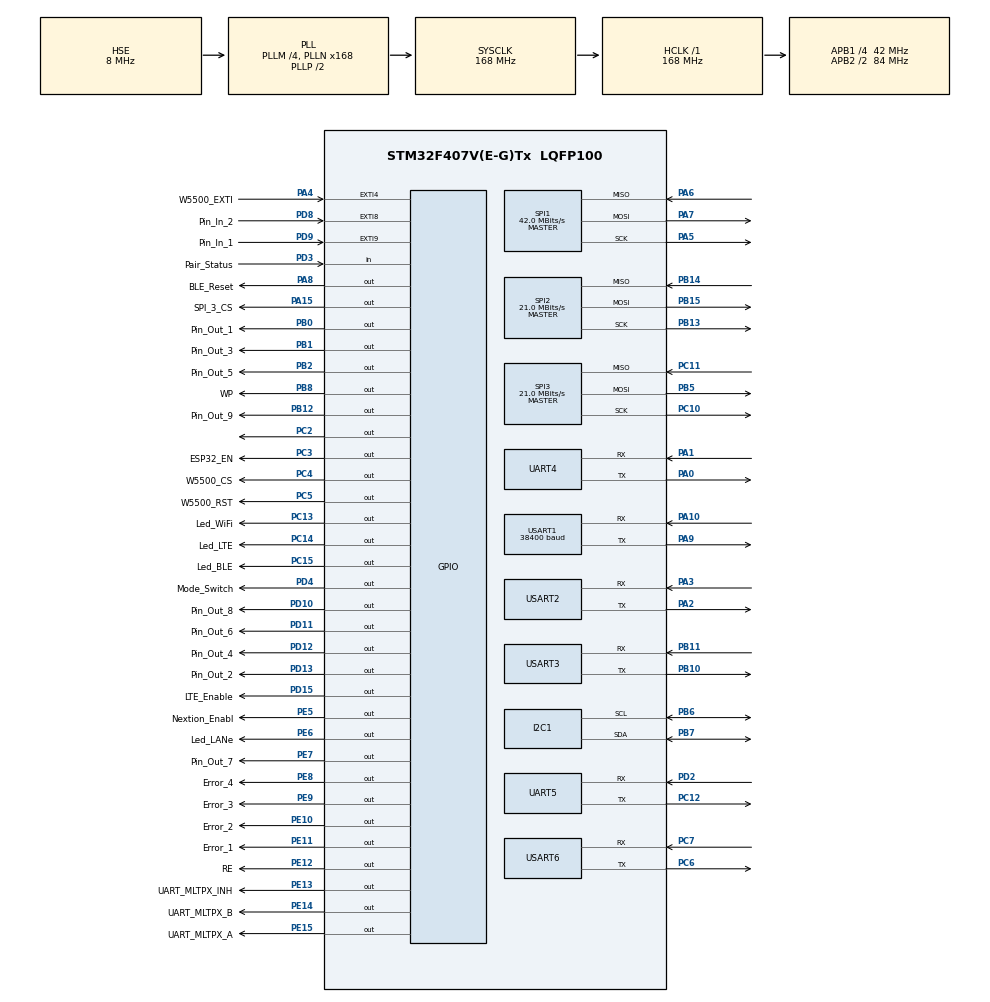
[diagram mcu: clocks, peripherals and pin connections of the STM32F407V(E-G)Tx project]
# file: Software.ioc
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Mcu.Family=STM32F4
Mcu.Name=STM32F407V(E-G)Tx
Mcu.Package=LQFP100
NVIC.PriorityGroup=NVIC_PRIORITYGROUP_4
NVIC.UART4_IRQn=true\:0\:0\:false\:false\:true\:true\:true
NVIC.USART1_IRQn=true\:0\:0\:false\:false\:true\:true\:true
NVIC.USART2_IRQn=true\:0\:0\:false\:false\:true\:true\:true
NVIC.USART3_IRQn=true\:0\:0\:false\:false\:true\:true\:true
NVIC.USART6_IRQn=true\:0\:0\:false\:false\:true\:true\:true
PA0-WKUP.Mode=Asynchronous
PA0-WKUP.Signal=UART4_TX
PA1.Mode=Asynchronous
PA1.Signal=UART4_RX
PA10.Mode=Asynchronous
PA10.Signal=USART1_RX
PA13.Mode=Serial_Wire
PA13.Signal=SYS_JTMS-SWDIO
PA14.Mode=Serial_Wire
PA14.Signal=SYS_JTCK-SWCLK
PA15.GPIO_Label=SPI_3_CS
PA15.Signal=GPIO_Output
PA2.Mode=Asynchronous
PA2.Signal=USART2_TX
PA3.Mode=Asynchronous
PA3.Signal=USART2_RX
PA4.GPIO_Label=W5500_EXTI
PA4.Signal=GPXTI4
PA5.Mode=Full_Duplex_Master
PA5.Signal=SPI1_SCK
PA6.Mode=Full_Duplex_Master
PA6.Signal=SPI1_MISO
PA7.Mode=Full_Duplex_Master
PA7.Signal=SPI1_MOSI
PA8.GPIO_Label=BLE_Reset
PA8.Signal=GPIO_Output
PA9.Mode=Asynchronous
PA9.Signal=USART1_TX
PB0.GPIO_Label=Pin_Out_1
PB0.Signal=GPIO_Output
PB1.GPIO_Label=Pin_Out_3
PB1.Signal=GPIO_Output
PB10.Mode=Asynchronous
PB10.Signal=USART3_TX
PB11.Mode=Asynchronous
PB11.Signal=USART3_RX
PB12.GPIO_Label=Pin_Out_9
PB12.Signal=GPIO_Output
PB13.Mode=Full_Duplex_Master
PB13.Signal=SPI2_SCK
PB14.Mode=Full_Duplex_Master
PB14.Signal=SPI2_MISO
PB15.Mode=Full_Duplex_Master
PB15.Signal=SPI2_MOSI
PB2.GPIO_Label=Pin_Out_5
PB2.Signal=GPIO_Output
PB5.Mode=Full_Duplex_Master
PB5.Signal=SPI3_MOSI
PB6.Mode=I2C
PB6.Signal=I2C1_SCL
PB7.Mode=I2C
PB7.Signal=I2C1_SDA
PB8.GPIO_Label=WP
PB8.Signal=GPIO_Output
PC10.Mode=Full_Duplex_Master
PC10.Signal=SPI3_SCK
PC11.Mode=Full_Duplex_Master
PC11.Signal=SPI3_MISO
PC12.Mode=Asynchronous
PC12.Signal=UART5_TX
PC13-ANTI_TAMP.GPIO_Label=Led_WiFi
PC13-ANTI_TAMP.Signal=GPIO_Output
PC14-OSC32_IN.GPIO_Label=Led_LTE
PC14-OSC32_IN.Signal=GPIO_Output
PC15-OSC32_OUT.GPIO_Label=Led_BLE
PC15-OSC32_OUT.Signal=GPIO_Output
PC2.Signal=GPIO_Output
PC3.GPIO_Label=ESP32_EN
PC3.Signal=GPIO_Output
PC4.GPIO_Label=W5500_CS
PC4.Signal=GPIO_Output
PC5.GPIO_Label=W5500_RST
PC5.Signal=GPIO_Output
PC6.Mode=Asynchronous
PC6.Signal=USART6_TX
PC7.Mode=Asynchronous
PC7.Signal=USART6_RX
PD10.GPIO_Label=Pin_Out_8
PD10.Signal=GPIO_Output
PD11.GPIO_Label=Pin_Out_6
PD11.Signal=GPIO_Output
PD12.GPIO_Label=Pin_Out_4
PD12.Signal=GPIO_Output
PD13.GPIO_Label=Pin_Out_2
PD13.Signal=GPIO_Output
PD15.GPIO_Label=LTE_Enable
PD15.Signal=GPIO_Output
PD2.Mode=Asynchronous
PD2.Signal=UART5_RX
PD3.GPIO_Label=Pair_Status
PD3.Signal=GPIO_Input
PD4.GPIO_Label=Mode_Switch
PD4.Signal=GPIO_Output
PD8.GPIO_Label=Pin_In_2
PD8.Signal=GPXTI8
PD9.GPIO_Label=Pin_In_1
PD9.Signal=GPXTI9
PE10.GPIO_Label=Error_2
PE10.Signal=GPIO_Output
PE11.GPIO_Label=Error_1
PE11.Signal=GPIO_Output
PE12.GPIO_Label=RE
PE12.Signal=GPIO_Output
PE13.GPIO_Label=UART_MLTPX_INH
PE13.Signal=GPIO_Output
PE14.GPIO_Label=UART_MLTPX_B
PE14.Signal=GPIO_Output
PE15.GPIO_Label=UART_MLTPX_A
PE15.Signal=GPIO_Output
PE5.GPIO_Label=Nextion_Enabl
PE5.Signal=GPIO_Output
PE6.GPIO_Label=Led_LANe
PE6.Signal=GPIO_Output
PE7.GPIO_Label=Pin_Out_7
PE7.Signal=GPIO_Output
PE8.GPIO_Label=Error_4
PE8.Signal=GPIO_Output
PE9.GPIO_Label=Error_3
PE9.Signal=GPIO_Output
PH0-OSC_IN.Mode=HSE-External-Oscillator
PH0-OSC_IN.Signal=RCC_OSC_IN
PH1-OSC_OUT.Mode=HSE-External-Oscillator
PH1-OSC_OUT.Signal=RCC_OSC_OUT
ProjectManager.HeapSize=0x200
ProjectManager.StackSize=0x400
ProjectManager.TargetToolchain=MDK-ARM V5.27
RCC.48MHZClocksFreq_Value=48000000
RCC.AHBFreq_Value=168000000
RCC.APB1CLKDivider=RCC_HCLK_DIV4
RCC.APB1Freq_Value=42000000
RCC.APB1TimFreq_Value=84000000
RCC.APB2CLKDivider=RCC_HCLK_DIV2
RCC.APB2Freq_Value=84000000
RCC.APB2TimFreq_Value=168000000
RCC.CortexFreq_Value=168000000
RCC.HCLKFreq_Value=168000000
RCC.HSE_VALUE=8000000
RCC.HSI_VALUE=16000000
RCC.LSE_VALUE=32768
RCC.PLLM=4
RCC.PLLN=168
RCC.PLLQ=7
RCC.PLLSourceVirtual=RCC_PLLSOURCE_HSE
RCC.SYSCLKFreq_VALUE=168000000
RCC.SYSCLKSource=RCC_SYSCLKSOURCE_PLLCLK
RCC.VCOOutputFreq_Value=336000000
SPI1.BaudRatePrescaler=SPI_BAUDRATEPRESCALER_2
SPI1.CalculateBaudRate=42.0 MBits/s
SPI1.Direction=SPI_DIRECTION_2LINES
SPI1.Mode=SPI_MODE_MASTER
SPI1.VirtualType=VM_MASTER
SPI2.BaudRatePrescaler=SPI_BAUDRATEPRESCALER_2
SPI2.CalculateBaudRate=21.0 MBits/s
SPI2.Direction=SPI_DIRECTION_2LINES
SPI2.Mode=SPI_MODE_MASTER
SPI2.VirtualType=VM_MASTER
SPI3.BaudRatePrescaler=SPI_BAUDRATEPRESCALER_2
SPI3.CalculateBaudRate=21.0 MBits/s
SPI3.Direction=SPI_DIRECTION_2LINES
SPI3.Mode=SPI_MODE_MASTER
SPI3.VirtualType=VM_MASTER
UART4.VirtualMode=Asynchronous
UART5.VirtualMode=Asynchronous
USART1.BaudRate=38400
USART1.VirtualMode=VM_ASYNC
USART2.VirtualMode=VM_ASYNC
USART3.VirtualMode=VM_ASYNC
USART6.VirtualMode=VM_ASYNC
board=custom

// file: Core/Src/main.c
/* USER CODE BEGIN Header */
/**
  ******************************************************************************
  * @file           : main.c
  * @brief          : Main program body
  ******************************************************************************
  * @attention
  *
  * <h2><center>&copy; Copyright (c) 2022 STMicroelectronics.
  * All rights reserved.</center></h2>
  *
  * This software component is licensed by ST under BSD 3-Clause license,
  * the "License"; You may not use this file except in compliance with the
  * License. You may obtain a copy of the License at:
  *                        opensource.org/licenses/BSD-3-Clause
  *
  ******************************************************************************
  */
/* USER CODE END Header */
#include "main.h"

/* USER CODE BEGIN PD */

#define INH_LOW HAL_GPIO_WritePin(GPIOE, GPIO_PIN_13, GPIO_PIN_RESET)
#define INH_HIGH HAL_GPIO_WritePin(GPIOE, GPIO_PIN_13, GPIO_PIN_SET)

#define MULTIPLEXER_A_LOW HAL_GPIO_WritePin(GPIOE, GPIO_PIN_15, GPIO_PIN_RESET)
#define MULTIPLEXER_A_HIGH HAL_GPIO_WritePin(GPIOE, GPIO_PIN_15, GPIO_PIN_SET)

#define MULTIPLEXER_B_LOW HAL_GPIO_WritePin(GPIOE, GPIO_PIN_14, GPIO_PIN_RESET)
#define MULTIPLEXER_B_HIGH HAL_GPIO_WritePin(GPIOE, GPIO_PIN_14, GPIO_PIN_SET)

#define RE_LOW    HAL_GPIO_WritePin(GPIOE, GPIO_PIN_12, GPIO_PIN_RESET)
#define RE_HIGH 	HAL_GPIO_WritePin(GPIOE, GPIO_PIN_12, GPIO_PIN_SET)

#define BLE_Mode_Data				HAL_GPIO_WritePin(GPIOD,GPIO_PIN_4, GPIO_PIN_RESET)
#define BLE_Mode_AT					HAL_GPIO_WritePin(GPIOD,GPIO_PIN_4, GPIO_PIN_SET)

#define BLE_RESET_ON		HAL_GPIO_WritePin(GPIOA,GPIO_PIN_8, GPIO_PIN_RESET)
#define BLE_RESET_OFF		HAL_GPIO_WritePin(GPIOA,GPIO_PIN_8, GPIO_PIN_SET)

#define ESP32_ON		HAL_GPIO_WritePin(GPIOC,GPIO_PIN_3, GPIO_PIN_SET)
#define ESP32_OFF	  HAL_GPIO_WritePin(GPIOC,GPIO_PIN_3, GPIO_PIN_RESET)

#define LTE_Enable  HAL_GPIO_WritePin(GPIOD,GPIO_PIN_15, GPIO_PIN_SET)
#define LTE_Disable HAL_GPIO_WritePin(GPIOD,GPIO_PIN_15, GPIO_PIN_RESET)

#define W5500_ON	  HAL_GPIO_WritePin(GPIOC,GPIO_PIN_5, GPIO_PIN_SET)
#define W5500_OFF		HAL_GPIO_WritePin(GPIOC,GPIO_PIN_5, GPIO_PIN_RESET)

/* USER CODE END PD */

I2C_HandleTypeDef hi2c1;

SPI_HandleTypeDef hspi1;
SPI_HandleTypeDef hspi2;
SPI_HandleTypeDef hspi3;

UART_HandleTypeDef huart4;
UART_HandleTypeDef huart5;
UART_HandleTypeDef huart1;
UART_HandleTypeDef huart2;
UART_HandleTypeDef huart3;
UART_HandleTypeDef huart6;

/* USER CODE BEGIN PV */
uint8_t Received_rx_byte[400] = {0};
uint8_t buffer_counter = 0;
uint8_t rx_buffer[250] = {0};

uint8_t Pair_status = 0;

/* USER CODE END PV */

void SystemClock_Config(void);
static void MX_GPIO_Init(void);
static void MX_SPI1_Init(void);
static void MX_UART4_Init(void);
static void MX_USART1_UART_Init(void);
static void MX_USART2_UART_Init(void);
static void MX_USART3_UART_Init(void);
static void MX_USART6_UART_Init(void);
static void MX_I2C1_Init(void);
static void MX_SPI2_Init(void);
static void MX_UART5_Init(void);
static void MX_SPI3_Init(void);

int main(void)
{

  /* MCU Configuration--------------------------------------------------------*/

  /* Reset of all peripherals, Initializes the Flash interface and the Systick. */
  HAL_Init();

  /* Configure the system clock */
  SystemClock_Config();

  /* Initialize all configured peripherals */
  MX_GPIO_Init();
  MX_SPI1_Init();
  MX_UART4_Init();
  MX_USART1_UART_Init();
  MX_USART2_UART_Init();
  MX_USART3_UART_Init();
  MX_USART6_UART_Init();
  MX_I2C1_Init();
  MX_SPI2_Init();
  MX_UART5_Init();
  MX_SPI3_Init();
  /* USER CODE BEGIN 2 */
	HAL_GPIO_WritePin(GPIOE,GPIO_PIN_5,GPIO_PIN_SET); // Turn on 5V regulator
	HAL_UART_Receive_IT(&huart6, Received_rx_byte, 400);

	W5500_ON;
	LTE_Disable;
	HAL_Delay(1000);
	LTE_Enable;
	ESP32_OFF;
	HAL_Delay(500);
	ESP32_ON;
	HAL_Delay(500);
	HAL_Delay(2000);
	BLE_RESET_ON;
	HAL_Delay(10);
	BLE_Mode_Data;
	BLE_RESET_OFF;
	HAL_Delay(10);

  /* USER CODE END 2 */

  /* Infinite loop */
  while (1)
  {

  }
}

void SystemClock_Config(void)
{
  RCC_OscInitTypeDef RCC_OscInitStruct = {0};
  RCC_ClkInitTypeDef RCC_ClkInitStruct = {0};

  /** Configure the main internal regulator output voltage
  */
  __HAL_RCC_PWR_CLK_ENABLE();
  __HAL_PWR_VOLTAGESCALING_CONFIG(PWR_REGULATOR_VOLTAGE_SCALE1);
  /** Initializes the RCC Oscillators according to the specified parameters
  * in the RCC_OscInitTypeDef structure.
  */
  RCC_OscInitStruct.OscillatorType = RCC_OSCILLATORTYPE_HSE;
  RCC_OscInitStruct.HSEState = RCC_HSE_ON;
  RCC_OscInitStruct.PLL.PLLState = RCC_PLL_ON;
  RCC_OscInitStruct.PLL.PLLSource = RCC_PLLSOURCE_HSE;
  RCC_OscInitStruct.PLL.PLLM = 4;
  RCC_OscInitStruct.PLL.PLLN = 168;
  RCC_OscInitStruct.PLL.PLLP = RCC_PLLP_DIV2;
  RCC_OscInitStruct.PLL.PLLQ = 7;
  if (HAL_RCC_OscConfig(&RCC_OscInitStruct) != HAL_OK)
  {
    Error_Handler();
  }
  /** Initializes the CPU, AHB and APB buses clocks
  */
  RCC_ClkInitStruct.ClockType = RCC_CLOCKTYPE_HCLK|RCC_CLOCKTYPE_SYSCLK
                              |RCC_CLOCKTYPE_PCLK1|RCC_CLOCKTYPE_PCLK2;
  RCC_ClkInitStruct.SYSCLKSource = RCC_SYSCLKSOURCE_PLLCLK;
  RCC_ClkInitStruct.AHBCLKDivider = RCC_SYSCLK_DIV1;
  RCC_ClkInitStruct.APB1CLKDivider = RCC_HCLK_DIV4;
  RCC_ClkInitStruct.APB2CLKDivider = RCC_HCLK_DIV2;

  if (HAL_RCC_ClockConfig(&RCC_ClkInitStruct, FLASH_LATENCY_5) != HAL_OK)
  {
    Error_Handler();
  }
}

static void MX_I2C1_Init(void)
{

  hi2c1.Instance = I2C1;
  hi2c1.Init.ClockSpeed = 100000;
  hi2c1.Init.DutyCycle = I2C_DUTYCYCLE_2;
  hi2c1.Init.OwnAddress1 = 0;
  hi2c1.Init.AddressingMode = I2C_ADDRESSINGMODE_7BIT;
  hi2c1.Init.DualAddressMode = I2C_DUALADDRESS_DISABLE;
  hi2c1.Init.OwnAddress2 = 0;
  hi2c1.Init.GeneralCallMode = I2C_GENERALCALL_DISABLE;
  hi2c1.Init.NoStretchMode = I2C_NOSTRETCH_DISABLE;
  if (HAL_I2C_Init(&hi2c1) != HAL_OK)
  {
    Error_Handler();
  }

}

static void MX_SPI1_Init(void)
{

  /* SPI1 parameter configuration*/
  hspi1.Instance = SPI1;
  hspi1.Init.Mode = SPI_MODE_MASTER;
  hspi1.Init.Direction = SPI_DIRECTION_2LINES;
  hspi1.Init.DataSize = SPI_DATASIZE_8BIT;
  hspi1.Init.CLKPolarity = SPI_POLARITY_LOW;
  hspi1.Init.CLKPhase = SPI_PHASE_1EDGE;
  hspi1.Init.NSS = SPI_NSS_SOFT;
  hspi1.Init.BaudRatePrescaler = SPI_BAUDRATEPRESCALER_2;
  hspi1.Init.FirstBit = SPI_FIRSTBIT_MSB;
  hspi1.Init.TIMode = SPI_TIMODE_DISABLE;
  hspi1.Init.CRCCalculation = SPI_CRCCALCULATION_DISABLE;
  hspi1.Init.CRCPolynomial = 10;
  if (HAL_SPI_Init(&hspi1) != HAL_OK)
  {
    Error_Handler();
  }

}

static void MX_SPI2_Init(void)
{

  /* SPI2 parameter configuration*/
  hspi2.Instance = SPI2;
  hspi2.Init.Mode = SPI_MODE_MASTER;
  hspi2.Init.Direction = SPI_DIRECTION_2LINES;
  hspi2.Init.DataSize = SPI_DATASIZE_8BIT;
  hspi2.Init.CLKPolarity = SPI_POLARITY_LOW;
  hspi2.Init.CLKPhase = SPI_PHASE_1EDGE;
  hspi2.Init.NSS = SPI_NSS_SOFT;
  hspi2.Init.BaudRatePrescaler = SPI_BAUDRATEPRESCALER_2;
  hspi2.Init.FirstBit = SPI_FIRSTBIT_MSB;
  hspi2.Init.TIMode = SPI_TIMODE_DISABLE;
  hspi2.Init.CRCCalculation = SPI_CRCCALCULATION_DISABLE;
  hspi2.Init.CRCPolynomial = 10;
  if (HAL_SPI_Init(&hspi2) != HAL_OK)
  {
    Error_Handler();
  }

}

static void MX_SPI3_Init(void)
{

  /* SPI3 parameter configuration*/
  hspi3.Instance = SPI3;
  hspi3.Init.Mode = SPI_MODE_MASTER;
  hspi3.Init.Direction = SPI_DIRECTION_2LINES;
  hspi3.Init.DataSize = SPI_DATASIZE_8BIT;
  hspi3.Init.CLKPolarity = SPI_POLARITY_LOW;
  hspi3.Init.CLKPhase = SPI_PHASE_1EDGE;
  hspi3.Init.NSS = SPI_NSS_SOFT;
  hspi3.Init.BaudRatePrescaler = SPI_BAUDRATEPRESCALER_2;
  hspi3.Init.FirstBit = SPI_FIRSTBIT_MSB;
  hspi3.Init.TIMode = SPI_TIMODE_DISABLE;
  hspi3.Init.CRCCalculation = SPI_CRCCALCULATION_DISABLE;
  hspi3.Init.CRCPolynomial = 10;
  if (HAL_SPI_Init(&hspi3) != HAL_OK)
  {
    Error_Handler();
  }

}

static void MX_UART4_Init(void)
{

  huart4.Instance = UART4;
  huart4.Init.BaudRate = 115200;
  huart4.Init.WordLength = UART_WORDLENGTH_8B;
  huart4.Init.StopBits = UART_STOPBITS_1;
  huart4.Init.Parity = UART_PARITY_NONE;
  huart4.Init.Mode = UART_MODE_TX_RX;
  huart4.Init.HwFlowCtl = UART_HWCONTROL_NONE;
  huart4.Init.OverSampling = UART_OVERSAMPLING_16;
  if (HAL_UART_Init(&huart4) != HAL_OK)
  {
    Error_Handler();
  }

}

static void MX_UART5_Init(void)
{

  huart5.Instance = UART5;
  huart5.Init.BaudRate = 115200;
  huart5.Init.WordLength = UART_WORDLENGTH_8B;
  huart5.Init.StopBits = UART_STOPBITS_1;
  huart5.Init.Parity = UART_PARITY_NONE;
  huart5.Init.Mode = UART_MODE_TX_RX;
  huart5.Init.HwFlowCtl = UART_HWCONTROL_NONE;
  huart5.Init.OverSampling = UART_OVERSAMPLING_16;
  if (HAL_UART_Init(&huart5) != HAL_OK)
  {
    Error_Handler();
  }

}

static void MX_USART1_UART_Init(void)
{

  huart1.Instance = USART1;
  huart1.Init.BaudRate = 38400;
  huart1.Init.WordLength = UART_WORDLENGTH_8B;
  huart1.Init.StopBits = UART_STOPBITS_1;
  huart1.Init.Parity = UART_PARITY_NONE;
  huart1.Init.Mode = UART_MODE_TX_RX;
  huart1.Init.HwFlowCtl = UART_HWCONTROL_NONE;
  huart1.Init.OverSampling = UART_OVERSAMPLING_16;
  if (HAL_UART_Init(&huart1) != HAL_OK)
  {
    Error_Handler();
  }

}

static void MX_USART2_UART_Init(void)
{

  huart2.Instance = USART2;
  huart2.Init.BaudRate = 115200;
  huart2.Init.WordLength = UART_WORDLENGTH_8B;
  huart2.Init.StopBits = UART_STOPBITS_1;
  huart2.Init.Parity = UART_PARITY_NONE;
  huart2.Init.Mode = UART_MODE_TX_RX;
  huart2.Init.HwFlowCtl = UART_HWCONTROL_NONE;
  huart2.Init.OverSampling = UART_OVERSAMPLING_16;
  if (HAL_UART_Init(&huart2) != HAL_OK)
  {
    Error_Handler();
  }

}

static void MX_USART3_UART_Init(void)
{

  huart3.Instance = USART3;
  huart3.Init.BaudRate = 115200;
  huart3.Init.WordLength = UART_WORDLENGTH_8B;
  huart3.Init.StopBits = UART_STOPBITS_1;
  huart3.Init.Parity = UART_PARITY_NONE;
  huart3.Init.Mode = UART_MODE_TX_RX;
  huart3.Init.HwFlowCtl = UART_HWCONTROL_NONE;
  huart3.Init.OverSampling = UART_OVERSAMPLING_16;
  if (HAL_UART_Init(&huart3) != HAL_OK)
  {
    Error_Handler();
  }

}

static void MX_USART6_UART_Init(void)
{

  huart6.Instance = USART6;
  huart6.Init.BaudRate = 115200;
  huart6.Init.WordLength = UART_WORDLENGTH_8B;
  huart6.Init.StopBits = UART_STOPBITS_1;
  huart6.Init.Parity = UART_PARITY_NONE;
  huart6.Init.Mode = UART_MODE_TX_RX;
  huart6.Init.HwFlowCtl = UART_HWCONTROL_NONE;
  huart6.Init.OverSampling = UART_OVERSAMPLING_16;
  if (HAL_UART_Init(&huart6) != HAL_OK)
  {
    Error_Handler();
  }

}

static void MX_GPIO_Init(void)
{
  GPIO_InitTypeDef GPIO_InitStruct = {0};

  /* GPIO Ports Clock Enable */
  __HAL_RCC_GPIOE_CLK_ENABLE();
  __HAL_RCC_GPIOC_CLK_ENABLE();
  __HAL_RCC_GPIOH_CLK_ENABLE();
  __HAL_RCC_GPIOA_CLK_ENABLE();
  __HAL_RCC_GPIOB_CLK_ENABLE();
  __HAL_RCC_GPIOD_CLK_ENABLE();

  /*Configure GPIO pin Output Level */
  HAL_GPIO_WritePin(GPIOE, Nextion_Enabl_Pin|Led_LANe_Pin|Pin_Out_7_Pin|Error_4_Pin
                          |Error_3_Pin|Error_2_Pin|Error_1_Pin|RE_Pin
                          |UART_MLTPX_INH_Pin|UART_MLTPX_B_Pin|UART_MLTPX_A_Pin, GPIO_PIN_RESET);

  /*Configure GPIO pin Output Level */
  HAL_GPIO_WritePin(GPIOC, Led_WiFi_Pin|Led_LTE_Pin|Led_BLE_Pin|GPIO_PIN_2
                          |ESP32_EN_Pin|W5500_CS_Pin|W5500_RST_Pin, GPIO_PIN_RESET);

  /*Configure GPIO pin Output Level */
  HAL_GPIO_WritePin(GPIOB, Pin_Out_1_Pin|Pin_Out_3_Pin|Pin_Out_5_Pin|Pin_Out_9_Pin
                          |WP_Pin, GPIO_PIN_RESET);

  /*Configure GPIO pin Output Level */
  HAL_GPIO_WritePin(GPIOD, Pin_Out_8_Pin|Pin_Out_6_Pin|Pin_Out_4_Pin|Pin_Out_2_Pin
                          |LTE_Enable_Pin|Mode_Switch_Pin, GPIO_PIN_RESET);

  /*Configure GPIO pin Output Level */
  HAL_GPIO_WritePin(GPIOA, BLE_Reset_Pin|SPI_3_CS_Pin, GPIO_PIN_RESET);

  /*Configure GPIO pins : Nextion_Enabl_Pin Led_LANe_Pin Pin_Out_7_Pin Error_4_Pin
                           Error_3_Pin Error_2_Pin Error_1_Pin RE_Pin
                           UART_MLTPX_INH_Pin UART_MLTPX_B_Pin UART_MLTPX_A_Pin */
  GPIO_InitStruct.Pin = Nextion_Enabl_Pin|Led_LANe_Pin|Pin_Out_7_Pin|Error_4_Pin
                          |Error_3_Pin|Error_2_Pin|Error_1_Pin|RE_Pin
                          |UART_MLTPX_INH_Pin|UART_MLTPX_B_Pin|UART_MLTPX_A_Pin;
  GPIO_InitStruct.Mode = GPIO_MODE_OUTPUT_PP;
  GPIO_InitStruct.Pull = GPIO_NOPULL;
  GPIO_InitStruct.Speed = GPIO_SPEED_FREQ_LOW;
  HAL_GPIO_Init(GPIOE, &GPIO_InitStruct);

  /*Configure GPIO pins : Led_WiFi_Pin Led_LTE_Pin Led_BLE_Pin PC2
                           ESP32_EN_Pin W5500_CS_Pin W5500_RST_Pin */
  GPIO_InitStruct.Pin = Led_WiFi_Pin|Led_LTE_Pin|Led_BLE_Pin|GPIO_PIN_2
                          |ESP32_EN_Pin|W5500_CS_Pin|W5500_RST_Pin;
  GPIO_InitStruct.Mode = GPIO_MODE_OUTPUT_PP;
  GPIO_InitStruct.Pull = GPIO_NOPULL;
  GPIO_InitStruct.Speed = GPIO_SPEED_FREQ_LOW;
  HAL_GPIO_Init(GPIOC, &GPIO_InitStruct);

  /*Configure GPIO pin : W5500_EXTI_Pin */
  GPIO_InitStruct.Pin = W5500_EXTI_Pin;
  GPIO_InitStruct.Mode = GPIO_MODE_IT_RISING;
  GPIO_InitStruct.Pull = GPIO_NOPULL;
  HAL_GPIO_Init(W5500_EXTI_GPIO_Port, &GPIO_InitStruct);

  /*Configure GPIO pins : Pin_Out_1_Pin Pin_Out_3_Pin Pin_Out_5_Pin Pin_Out_9_Pin
                           WP_Pin */
  GPIO_InitStruct.Pin = Pin_Out_1_Pin|Pin_Out_3_Pin|Pin_Out_5_Pin|Pin_Out_9_Pin
                          |WP_Pin;
  GPIO_InitStruct.Mode = GPIO_MODE_OUTPUT_PP;
  GPIO_InitStruct.Pull = GPIO_NOPULL;
  GPIO_InitStruct.Speed = GPIO_SPEED_FREQ_LOW;
  HAL_GPIO_Init(GPIOB, &GPIO_InitStruct);

  /*Configure GPIO pins : Pin_In_2_Pin Pin_In_1_Pin */
  GPIO_InitStruct.Pin = Pin_In_2_Pin|Pin_In_1_Pin;
  GPIO_InitStruct.Mode = GPIO_MODE_IT_RISING;
  GPIO_InitStruct.Pull = GPIO_NOPULL;
  HAL_GPIO_Init(GPIOD, &GPIO_InitStruct);

  /*Configure GPIO pins : Pin_Out_8_Pin Pin_Out_6_Pin Pin_Out_4_Pin Pin_Out_2_Pin
                           LTE_Enable_Pin Mode_Switch_Pin */
  GPIO_InitStruct.Pin = Pin_Out_8_Pin|Pin_Out_6_Pin|Pin_Out_4_Pin|Pin_Out_2_Pin
                          |LTE_Enable_Pin|Mode_Switch_Pin;
  GPIO_InitStruct.Mode = GPIO_MODE_OUTPUT_PP;
  GPIO_InitStruct.Pull = GPIO_NOPULL;
  GPIO_InitStruct.Speed = GPIO_SPEED_FREQ_LOW;
  HAL_GPIO_Init(GPIOD, &GPIO_InitStruct);

  /*Configure GPIO pins : BLE_Reset_Pin SPI_3_CS_Pin */
  GPIO_InitStruct.Pin = BLE_Reset_Pin|SPI_3_CS_Pin;
  GPIO_InitStruct.Mode = GPIO_MODE_OUTPUT_PP;
  GPIO_InitStruct.Pull = GPIO_NOPULL;
  GPIO_InitStruct.Speed = GPIO_SPEED_FREQ_LOW;
  HAL_GPIO_Init(GPIOA, &GPIO_InitStruct);

  /*Configure GPIO pin : Pair_Status_Pin */
  GPIO_InitStruct.Pin = Pair_Status_Pin;
  GPIO_InitStruct.Mode = GPIO_MODE_INPUT;
  GPIO_InitStruct.Pull = GPIO_NOPULL;
  HAL_GPIO_Init(Pair_Status_GPIO_Port, &GPIO_InitStruct);

}

/* USER CODE BEGIN 4 */

void HAL_UART_RxCpltCallback(UART_HandleTypeDef *huart)
{
	rx_buffer[buffer_counter] = Received_rx_byte[0];
	buffer_counter++;
	HAL_UART_Receive_IT(&huart1, Received_rx_byte, 1); //restart interrupt
}

/* USER CODE END 4 */

void Error_Handler(void)
{
  __disable_irq();
  while (1)
  {
  }
}

/************************ (C) COPYRIGHT STMicroelectronics *****END OF FILE****/
